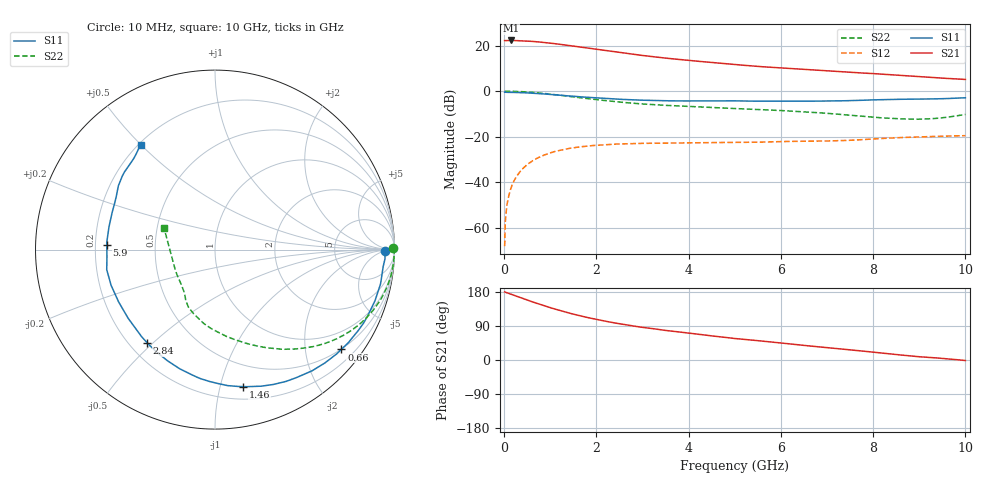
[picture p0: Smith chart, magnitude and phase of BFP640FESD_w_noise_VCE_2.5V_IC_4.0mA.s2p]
! Infineon Technologies  Discrete & RF Semiconductors
! BFP640FESD
! VCE =  2.5 V,  IC =  4.0 mA
! Common Emitter S-Parameters:  Jan 2016
# GHz  S  MA  R  50
!  f  S11  S21  S12  S22
! GHz  MAG  ANG  MAG  ANG  MAG  ANG  MAG  ANG
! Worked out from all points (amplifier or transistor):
!   233 points, 10 MHz to 10 GHz, reference 50 ohm
!   highest |S21| = 22.2 dB at 150 MHz (marker M1)
!   |S21| within 3 dB of that: start of sweep to 1.692 GHz
!   unconditionally stable (mu >= 1): start of sweep to 10.15 MHz; 6.154 GHz to end of sweep
!   at 200 MHz: K = 0.01, MSG = 31.1 dB, |S12| = -39.9 dB
!   at 1.74 GHz: K = 0.24, MSG = 21.6 dB, |S12| = -24.2 dB
!   at 10 GHz: K = 1.25, MAG = 9.3 dB, |S12| = -19.5 dB
!   lowest NFmin = 0.49 dB at 450 MHz
!   S11 on the Smith chart (normalised r, x): 10 MHz: 37, -5; 660 MHz: 0.49, -2.80; 1.46 GHz: 0.30, -1.18; 2.84 GHz: 0.27, -0.48; 5.9 GHz: 0.25, +0.02; 10 GHz: 0.21, +0.50
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0.01  0.9489 -0.4  12.87 179.5  0.0004 -14.8  0.9943 0.5
0.025  0.9476 -1.6  12.83 179.0  0.0013 89.5  0.9985 -1.0
0.05  0.9486 -3.1  12.83 177.7  0.0027 82.7  0.9987 -1.7
0.15  0.9416 -9.0  12.95 173.7  0.0076 85.0  0.9959 -5.3
0.4  0.9274 -23.5  12.75 162.7  0.0199 76.7  0.9743 -14.1
0.66  0.8971 -38.3  12.25 151.5  0.0316 68.3  0.9331 -22.8
0.9  0.8652 -51.3  11.61 141.9  0.041 61.3  0.8851 -30.4
1.04  0.8422 -58.5  11.19 136.6  0.0457 57.5  0.8534 -34.5
1.22  0.8152 -67.5  10.63 130.1  0.051 52.9  0.8123 -39.6
1.46  0.7789 -78.5  9.864 122.2  0.0567 47.4  0.758 -45.8
1.68  0.7493 -87.8  9.2 115.5  0.0608 42.9  0.7118 -51.0
1.88  0.7258 -95.5  8.602 110.1  0.0637 39.5  0.6742 -55.4
2.2  0.6925 -106.5  7.754 102.2  0.0672 34.9  0.6213 -61.8
2.58  0.6597 -118.7  6.888 93.9  0.0702 30.3  0.5684 -68.9
2.84  0.6423 -126.0  6.356 88.9  0.0712 27.9  0.5391 -73.3
3.4  0.6184 -139.3  5.449 79.8  0.0725 24.3  0.4958 -80.8
4  0.611 -151.5  4.732 70.8  0.0738 22.2  0.4639 -87.2
5.1  0.6108 -170.8  3.767 55.6  0.0755 19.9  0.4127 -99.4
5.9  0.6034 177.7  3.289 46.1  0.0781 20.2  0.3804 -107.3
6.8  0.6059 163.2  2.875 34.9  0.0805 20.3  0.3374 -117.7
8.4  0.6592 141.6  2.289 15.7  0.0942 22.1  0.2533 -147.1
10  0.7173 125.3  1.81 -1.4  0.1059 17.3  0.3094 157.0
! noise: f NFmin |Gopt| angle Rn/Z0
0.45  0.49  0.6  7  0.15
2.4  0.72  0.32  55  0.13
5.5  1.03  0.42  148  0.08
10  1.94  0.53  -123  0.27
